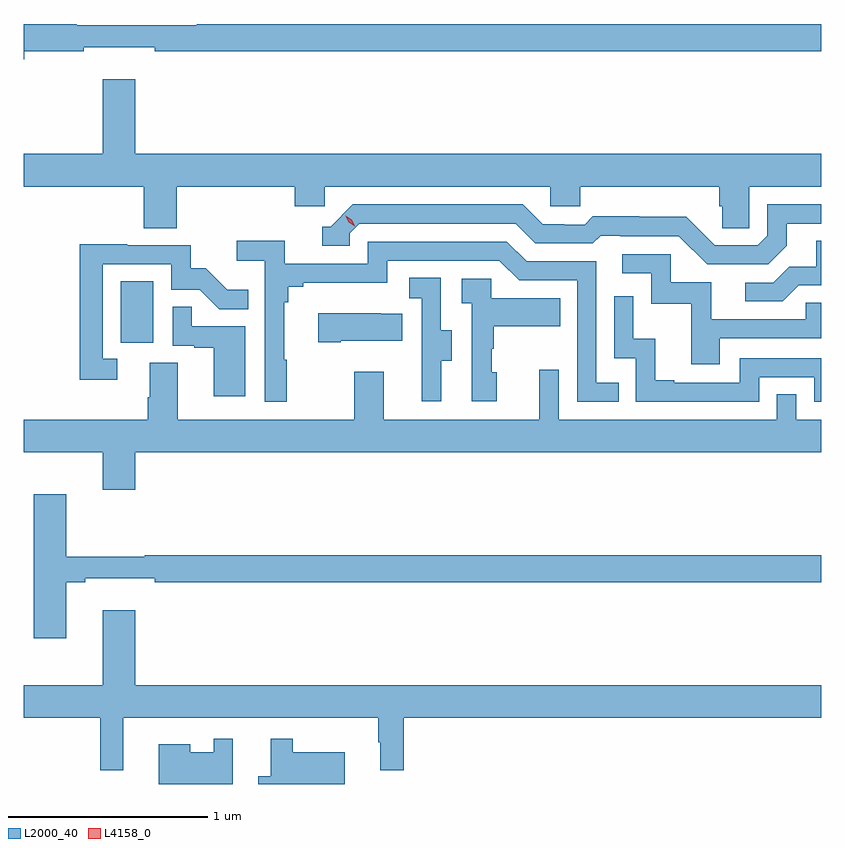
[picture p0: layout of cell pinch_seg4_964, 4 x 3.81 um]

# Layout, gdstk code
import gdstk
lib = gdstk.Library(unit=1e-6, precision=1e-09)
def R(c, l, rs):  # rectangles x0, y0, x1, y1
    for r in rs: c.add(gdstk.rectangle(r[:2], r[2:], *l))
def P(c, l, *ps):  # polygons
    for p in ps: c.add(gdstk.Polygon(p, *l))
L2000_40 = (2000, 40)
L4158_0 = (4158, 0)

pinch_seg4_964 = lib.new_cell('pinch_seg4_964')
R(pinch_seg4_964, L2000_40, [(860.402,782.718,860.566,783.025)])
P(pinch_seg4_964, L2000_40, [(859.918,784.18),(860.216,784.18),(860.216,784.199),(860.572,784.199),(860.572,784.18),(863.916,784.18),(863.916,784.316),(860.783,784.316),(860.783,784.309),(860.183,784.309),(860.183,784.316),(859.916,784.316),(859.916,784.138),(859.918,784.138)],
  [(860.684,783.5),(861.275,783.5),(861.275,783.402),(861.426,783.402),(861.426,783.5),(862.557,783.5),(862.557,783.402),(862.707,783.402),(862.707,783.5),(863.405,783.5),(863.405,783.402),(863.419,783.402),(863.419,783.292),(863.556,783.292),(863.556,783.5),(863.916,783.5),(863.916,783.664),(860.476,783.664),(860.476,784.039),(860.312,784.039),(860.312,783.664),(859.916,783.664),(859.916,783.5),(860.519,783.5),(860.519,783.292),(860.684,783.292)],
  [(863.743,783.205),(863.743,783.315),(863.916,783.315),(863.916,783.411),(863.646,783.411),(863.646,783.255),(863.598,783.207),(863.382,783.207),(863.24,783.349),(863.004,783.349),(863.004,783.352),(862.771,783.352),(862.729,783.309),(862.626,783.309),(862.626,783.312),(862.519,783.312),(862.42,783.411),(861.567,783.411),(861.456,783.3),(861.413,783.3),(861.413,783.204),(861.552,783.204),(861.552,783.267),(861.6,783.315),(862.383,783.315),(862.482,783.216),(862.771,783.216),(862.81,783.255),(862.909,783.255),(862.909,783.252),(863.202,783.252),(863.343,783.111),(863.649,783.111)],
  [(863.803,783.006),(863.916,783.006),(863.916,783.23),(863.891,783.23),(863.891,783.098),(863.756,783.098),(863.676,783.018),(863.535,783.018),(863.535,782.925),(863.722,782.925)],
  [(861.235,782.633),(861.223,782.633),(861.223,782.921),(861.242,782.921),(861.242,782.998),(861.319,782.998),(861.319,783.017),(861.738,783.017),(861.738,783.129),(862.302,783.129),(862.401,783.03),(862.692,783.03),(862.692,782.421),(862.901,782.421),(862.901,782.517),(862.788,782.517),(862.788,783.126),(862.438,783.126),(862.339,783.225),(861.642,783.225),(861.642,783.114),(861.224,783.114),(861.224,783.23),(860.985,783.23),(860.985,783.128),(861.126,783.128),(861.126,782.421),(861.235,782.421)],
  [(860.386,782.637),(860.313,782.637),(860.313,783.111),(860.655,783.111),(860.655,782.982),(860.799,782.982),(860.897,782.884),(861.041,782.884),(861.041,782.983),(860.937,782.983),(860.83,783.09),(860.754,783.09),(860.754,783.207),(860.435,783.207),(860.435,783.212),(860.197,783.212),(860.197,782.532),(860.386,782.532)],
  [(863.407,782.739),(863.916,782.739),(863.916,782.919),(863.839,782.919),(863.839,782.835),(863.365,782.835),(863.365,783.021),(863.16,783.021),(863.16,783.162),(862.917,783.162),(862.917,783.066),(863.064,783.066),(863.064,782.913),(863.263,782.913),(863.263,782.61),(863.407,782.61)],
  [(862.009,782.626),(862.063,782.626),(862.063,782.781),(862.008,782.781),(862.008,783.044),(861.849,783.044),(861.849,782.941),(861.912,782.941),(861.912,782.637),(861.911,782.637),(861.911,782.424),(862.009,782.424)],
  [(862.288,782.568),(862.263,782.568),(862.263,782.687),(862.273,782.687),(862.273,782.801),(862.607,782.801),(862.607,782.941),(862.26,782.941),(862.26,783.039),(862.113,783.039),(862.113,782.915),(862.164,782.915),(862.164,782.424),(862.288,782.424)],
  [(863.604,782.544),(863.88,782.544),(863.88,782.421),(863.916,782.421),(863.916,782.64),(863.508,782.64),(863.508,782.517),(863.179,782.517),(863.179,782.53),(863.084,782.53),(863.084,782.738),(862.974,782.738),(862.974,782.95),(862.878,782.95),(862.878,782.64),(862.986,782.64),(862.986,782.421),(863.604,782.421)],
  [(861.028,782.799),(860.759,782.799),(860.759,782.897),(860.664,782.897),(860.664,782.703),(860.771,782.703),(860.771,782.691),(860.87,782.691),(860.87,782.448),(861.028,782.448)],
  [(861.505,782.726),(861.815,782.726),(861.815,782.863),(861.707,782.863),(861.707,782.866),(861.393,782.866),(861.393,782.719),(861.505,782.719)],
  [(860.476,782.168),(863.916,782.168),(863.916,782.332),(863.79,782.332),(863.79,782.459),(863.694,782.459),(863.694,782.332),(862.599,782.332),(862.599,782.581),(862.502,782.581),(862.502,782.332),(861.721,782.332),(861.721,782.572),(861.574,782.572),(861.574,782.332),(860.689,782.332),(860.689,782.618),(860.549,782.618),(860.549,782.444),(860.537,782.444),(860.537,782.332),(859.916,782.332),(859.916,782.168),(860.312,782.168),(860.312,781.98),(860.476,781.98)],
  [(860.128,781.516),(860.224,781.516),(860.224,781.535),(860.572,781.535),(860.572,781.516),(863.916,781.516),(863.916,781.652),(860.524,781.652),(860.524,781.645),(860.128,781.645),(860.128,781.957),(859.967,781.957),(859.967,781.236),(860.128,781.236)],
  [(860.416,780.836),(861.693,780.836),(861.693,780.713),(861.704,780.713),(861.704,780.573),(861.821,780.573),(861.821,780.836),(863.916,780.836),(863.916,781),(860.476,781),(860.476,781.375),(860.312,781.375),(860.312,781),(859.916,781),(859.916,780.836),(860.299,780.836),(860.299,780.573),(860.416,780.573)],
  [(860.964,780.73),(860.868,780.73),(860.868,780.664),(860.752,780.664),(860.752,780.703),(860.594,780.703),(860.594,780.504),(860.964,780.504)],
  [(861.526,780.664),(861.265,780.664),(861.265,780.73),(861.155,780.73),(861.155,780.543),(861.092,780.543),(861.092,780.504),(861.526,780.504)])
P(pinch_seg4_964, L4158_0, [(861.576,783.301),(861.546,783.321),(861.53,783.354),(861.53,783.354),(861.53,783.354),(861.561,783.334),(861.577,783.302),(861.577,783.301)])

lib.write_gds('pinch_seg4_964.gds')
